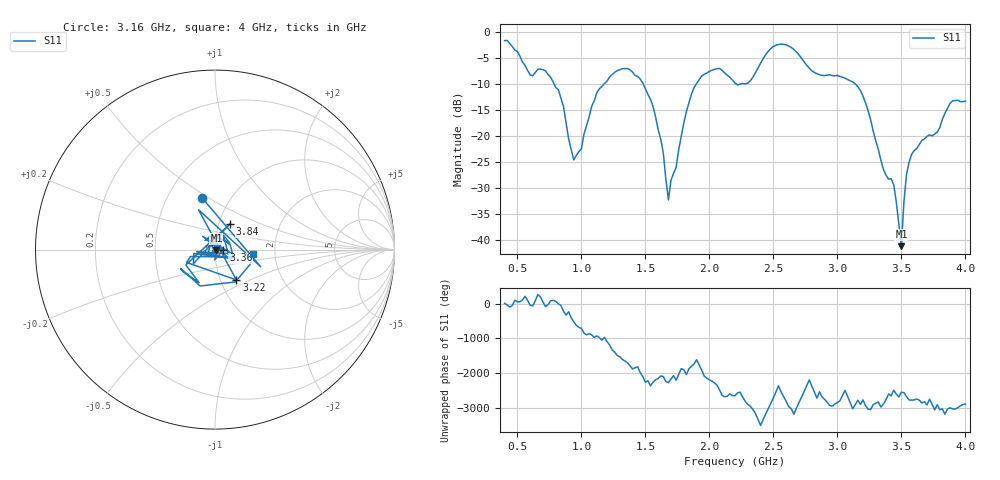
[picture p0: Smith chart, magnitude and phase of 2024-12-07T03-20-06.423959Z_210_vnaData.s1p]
!Created with skrf (http://scikit-rf.org).
# Hz S RI R 50.0
!freq ReS11 ImS11
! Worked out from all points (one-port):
!   181 points, 400 MHz to 4 GHz, reference 50 ohm
!   lowest |S11| = -41.2 dB at 3.5 GHz (marker M1), VSWR 1.02, Z = 50.8 - j0.403 ohm
!   |S11| at or under -10 dB: 785.7 MHz to 1.179 GHz (393.1 MHz wide, 40 % of centre); 1.482 GHz to 1.899 GHz (417 MHz wide, 24.7 % of centre); 3.138 GHz to end of sweep (the widest 3 of 5)
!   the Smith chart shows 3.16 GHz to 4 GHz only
!   S11 on the Smith chart (normalised r, x): 3.16 GHz: 0.74, +0.47; 3.22 GHz: 1.19, -0.42; 3.36 GHz: 1.10, -0.01; 3.84 GHz: 1.13, +0.33; 4 GHz: 1.54, -0.08
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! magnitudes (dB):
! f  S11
! 400 MHz  -1.7
! 600 MHz  -8.3
! 720 MHz  -7.5
! 860 MHz  -14.4
! 940 MHz  -24.7
! 1.12 GHz  -11.8
! 1.3 GHz  -7.3
! 1.54 GHz  -13.0
! 1.64 GHz  -23.4
! 1.68 GHz  -32.3
! 1.76 GHz  -22.7
! 1.86 GHz  -12.0
! 1.94 GHz  -8.5
! 2.2 GHz  -9.9
! 2.32 GHz  -9.4
! 2.5 GHz  -2.9
! 2.66 GHz  -3.4
! 2.82 GHz  -7.8
! 3.1 GHz  -9.4
! 3.16 GHz  -10.6
! 3.22 GHz  -13.7
! 3.36 GHz  -26.5
! 3.44 GHz  -29.4
! 3.5 GHz  -41.2
! 3.52 GHz  -32.7
! 3.56 GHz  -25.1
! 3.84 GHz  -15.7
! 4 GHz  -13.4
